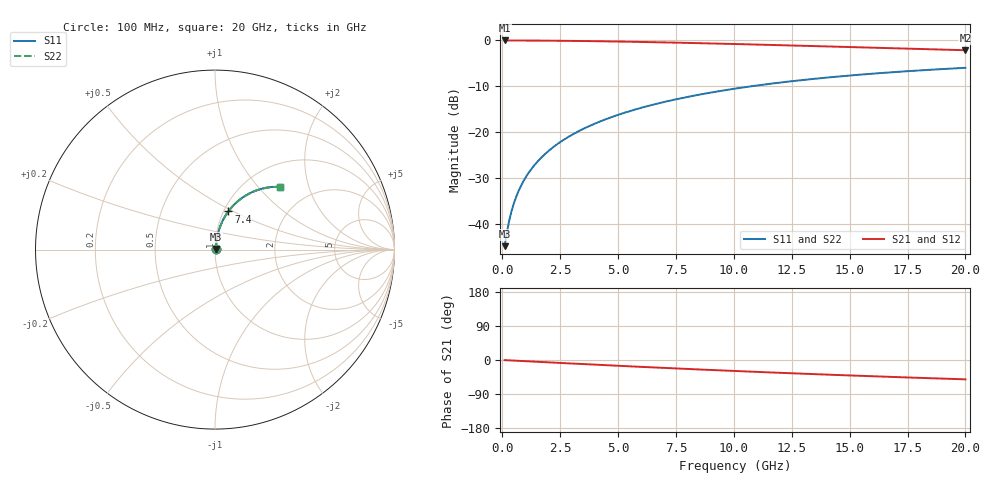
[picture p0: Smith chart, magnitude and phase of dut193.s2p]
! Touchstone file exported from HFSS 2024.1.0
!  File:  C:/UserFiles/LocalFiles/RDL_TSV_Batchsim/temp_RDL_top_193_1778686700.aedt
!  Generated:  11:40:40 PM May 13, 2026
!  Design:  RDL_top
!  Project:  temp_RDL_top_193_1778686700
!  Setup:  Setup1
!  Solution:  Sweep
! Variables:
!  dtsv = 10.80580581um
!  hbump = 3um
!  htsv = 95.37um
!  ldown = 100um
!  lrdl = 695.58um
!  p = 40
!  p1 = 51.43um
!  rhole = 1um
!  t = 450um
!  tdown = 3.915915916um
!  trdl = 3.49um
!  wdown = 15.38538539um
!  wrdl = 15.13um
# GHz S MA R 50.000000
! Terminal data exported
! Port[1] = Box2_T1
! Port[2] = Box2_T2
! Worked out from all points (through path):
!   200 points, 100 MHz to 20 GHz, reference 50 ohm
!   highest |S21| = -0.04 dB at 100 MHz (marker M1); lowest = -2.2 dB at 20 GHz (marker M2)
!   group delay of S21, straight-line fit = 7.08 ps
!   lowest |S11| = -44.8 dB at 100 MHz (marker M3), VSWR 1.01, Z = 50.5 + j0.332 ohm
!   |S11| at or under -10 dB: start of sweep to 10.76 GHz
!   |S22| runs from -44.8 to -6.0 dB; largest |S21 - S12| = 5.7e-15
!   S11 on the Smith chart (normalised r, x): 100 MHz: 1.01, +0.01; 7.4 GHz: 1.05, +0.47; 20 GHz: 1.41, +1.31
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0.1  0.005779 34.6  0.9952 -0.3  0.9952 -0.3  0.005779 34.6
! Gamma 0 0 0 0
! Port Impedance 50 0 50 0
0.2  0.00816 53.2  0.9951 -0.6  0.9951 -0.6  0.00816 53.2
0.3  0.01097 62.4  0.9949 -1.0  0.9949 -1.0  0.01097 62.4
0.4  0.01391 67.6  0.9947 -1.3  0.9947 -1.3  0.01391 67.6
0.5  0.01689 70.9  0.9945 -1.6  0.9945 -1.6  0.01689 70.9
0.6  0.0199 73.2  0.9943 -1.9  0.9943 -1.9  0.0199 73.2
0.8  0.02595 76.1  0.9939 -2.5  0.9939 -2.5  0.02595 76.1
1.1  0.03508 78.3  0.9931 -3.5  0.9931 -3.5  0.03508 78.3
1.5  0.04734 79.7  0.9919 -4.7  0.9919 -4.7  0.04734 79.7
1.8  0.05657 80.0  0.9908 -5.6  0.9908 -5.6  0.05657 80.0
2.1  0.06582 80.1  0.9895 -6.5  0.9895 -6.5  0.06581 80.1
2.7  0.08431 79.7  0.9864 -8.4  0.9864 -8.4  0.0843 79.7
3.5  0.1089 78.7  0.9813 -10.8  0.9813 -10.8  0.1089 78.7
4.2  0.1303 77.5  0.9759 -12.9  0.9759 -12.9  0.1303 77.5
5  0.1545 76.0  0.9689 -15.2  0.9689 -15.2  0.1545 75.9
6.8  0.2079 72.1  0.9504 -20.4  0.9504 -20.4  0.2078 72.1
7.4  0.2252 70.8  0.9435 -22.0  0.9435 -22.0  0.2251 70.7
8.7  0.2618 67.8  0.9277 -25.5  0.9277 -25.5  0.2616 67.8
10.1  0.2993 64.7  0.9098 -29.2  0.9098 -29.2  0.2991 64.6
13.4  0.3794 57.3  0.8656 -37.2  0.8656 -37.2  0.3791 57.2
16.7  0.4468 50.5  0.8214 -44.4  0.8214 -44.4  0.4464 50.4
20  0.5019 44.2  0.7793 -51.0  0.7793 -51.0  0.5014 44.1
